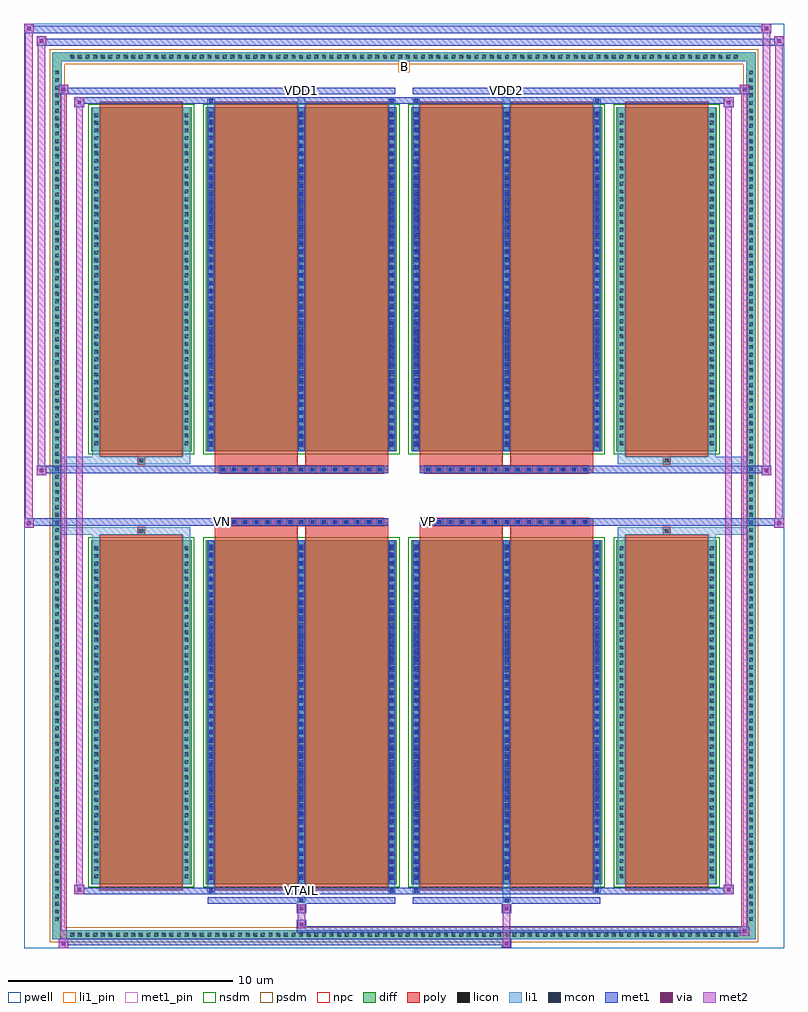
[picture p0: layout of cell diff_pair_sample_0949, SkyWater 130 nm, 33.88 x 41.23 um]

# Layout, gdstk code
import gdstk
lib = gdstk.Library(unit=1e-6, precision=5e-09)
def R(c, l, rs):  # rectangles x0, y0, x1, y1
    for r in rs: c.add(gdstk.rectangle(r[:2], r[2:], *l))
def A(c, l, x, y, w, h, nx, ny, dx, dy):  # array of equal rectangles
    R(c, l, [(x+i*dx, y+j*dy, x+i*dx+w, y+j*dy+h) for i in range(nx) for j in range(ny)])
def P(c, l, *ps):  # polygons
    for p in ps: c.add(gdstk.Polygon(p, *l))
pwell = (64, 44)
diff = (65, 20)
poly = (66, 20)
licon = (66, 44)
li1_pin = (67, 16)
li1 = (67, 20)
mcon = (67, 44)
met1_pin = (68, 16)
met1 = (68, 20)
via = (68, 44)
met2 = (69, 20)
nsdm = (93, 44)
psdm = (94, 20)
npc = (95, 20)

diff_pair_sample_0949 = lib.new_cell('diff_pair_sample_0949')
R(diff_pair_sample_0949, pwell, [(-16.94,-20.18,16.94,21.05), (-14.26,-18.37,-0.01,-0.805), (0.01,-18.37,14.26,-0.805), (-14.26,0.805,-0.01,18.37), (0.01,0.805,14.26,18.37)])
A(diff_pair_sample_0949, diff, -14.995, -19.78, 0.41, 0.41, 88, 2, 0.34, 39.15)
A(diff_pair_sample_0949, diff, -15.67, -19.075, 0.41, 0.41, 1, 112, 0, 0.34)
A(diff_pair_sample_0949, diff, 15.26, -19.075, 0.41, 0.41, 1, 112, 0, 0.34)
R(diff_pair_sample_0949, diff, [(-14.995,-19.78,14.995,-19.37), (-15.67,-19.075,-15.26,19.075), (15.26,-19.075,15.67,19.075), (-13.95,-17.325,-9.47,-1.985), (-8.83,-17.325,-0.32,-1.985), (0.32,-17.325,8.83,-1.985), (9.47,-17.325,13.95,-1.985), (-13.95,1.985,-9.47,17.325), (-8.83,1.985,-0.32,17.325), (0.32,1.985,8.83,17.325), (9.47,1.985,13.95,17.325), (-14.995,19.37,14.995,19.78)])
P(diff_pair_sample_0949, diff, [(15.67,19.78),(-15.67,19.78),(-15.67,-19.37),(-15.26,-19.37),(-15.26,19.37),(15.26,19.37),(15.26,-19.37),(-15.26,-19.37),(-15.67,-19.37),(-15.67,-19.78),(15.67,-19.78)])
A(diff_pair_sample_0949, poly, -8.24, -1.335, 0.33, 0.33, 15, 2, 0.5, 2.34)
A(diff_pair_sample_0949, poly, 0.91, -1.335, 0.33, 0.33, 15, 2, 0.5, 2.34)
R(diff_pair_sample_0949, poly, [(-13.56,-17.575,-9.86,-1.735), (-8.44,-17.575,-4.74,-1.735), (-4.41,-17.575,-0.71,-1.735), (0.71,-17.575,4.41,-1.735), (4.74,-17.575,8.44,-1.735), (9.86,-17.575,13.56,-1.735), (-11.875,-1.735,-11.545,-1.405), (-11.875,-1.735,-11.545,-1.405), (-8.44,-1.735,-4.74,-1.335), (-4.41,-1.735,-0.71,-1.335), (0.71,-1.735,4.41,-1.335), (4.74,-1.735,8.44,-1.335), (11.545,-1.735,11.875,-1.405), (11.545,-1.735,11.875,-1.405), (-8.44,-1.335,-0.71,-1.005), (0.71,-1.335,8.44,-1.005), (-8.44,1.005,-0.71,1.335), (0.71,1.005,8.44,1.335), (-8.44,1.335,-4.74,1.735), (-4.41,1.335,-0.71,1.735), (0.71,1.335,4.41,1.735), (4.74,1.335,8.44,1.735), (-11.875,1.405,-11.545,1.735), (-11.875,1.405,-11.545,1.735), (11.545,1.405,11.875,1.735), (11.545,1.405,11.875,1.735), (-13.56,1.735,-9.86,17.575), (-8.44,1.735,-4.74,17.575), (-4.41,1.735,-0.71,17.575), (0.71,1.735,4.41,17.575), (4.74,1.735,8.44,17.575), (9.86,1.735,13.56,17.575)])
A(diff_pair_sample_0949, licon, -14.875, -19.66, 0.17, 0.17, 88, 2, 0.34, 39.15)
A(diff_pair_sample_0949, licon, -15.55, -18.955, 0.17, 0.17, 1, 112, 0, 0.34)
A(diff_pair_sample_0949, licon, 15.38, -18.955, 0.17, 0.17, 1, 112, 0, 0.34)
A(diff_pair_sample_0949, licon, -13.81, -17.05, 0.17, 0.17, 1, 44, 0, 0.34)
A(diff_pair_sample_0949, licon, -9.78, -17.05, 0.17, 0.17, 1, 44, 0, 0.34)
A(diff_pair_sample_0949, licon, -8.69, -17.05, 0.17, 0.17, 3, 44, 4.03, 0.34)
A(diff_pair_sample_0949, licon, 0.46, -17.05, 0.17, 0.17, 3, 44, 4.03, 0.34)
A(diff_pair_sample_0949, licon, 9.61, -17.05, 0.17, 0.17, 1, 44, 0, 0.34)
A(diff_pair_sample_0949, licon, 13.64, -17.05, 0.17, 0.17, 1, 44, 0, 0.34)
A(diff_pair_sample_0949, licon, -8.16, -1.255, 0.17, 0.17, 15, 2, 0.5, 2.34)
A(diff_pair_sample_0949, licon, 0.99, -1.255, 0.17, 0.17, 15, 2, 0.5, 2.34)
A(diff_pair_sample_0949, licon, -13.81, 2.26, 0.17, 0.17, 1, 44, 0, 0.34)
A(diff_pair_sample_0949, licon, -9.78, 2.26, 0.17, 0.17, 1, 44, 0, 0.34)
A(diff_pair_sample_0949, licon, -8.69, 2.26, 0.17, 0.17, 3, 44, 4.03, 0.34)
A(diff_pair_sample_0949, licon, 0.46, 2.26, 0.17, 0.17, 3, 44, 4.03, 0.34)
A(diff_pair_sample_0949, licon, 9.61, 2.26, 0.17, 0.17, 1, 44, 0, 0.34)
A(diff_pair_sample_0949, licon, 13.64, 2.26, 0.17, 0.17, 1, 44, 0, 0.34)
R(diff_pair_sample_0949, licon, [(-11.795,-1.655,-11.625,-1.485), (11.625,-1.655,11.795,-1.485), (-11.795,1.485,-11.625,1.655), (11.625,1.485,11.795,1.655)])
R(diff_pair_sample_0949, li1_pin, [(-0.25,18.87,0.25,19.37)])
A(diff_pair_sample_0949, li1, -14.955, -19.74, 0.33, 0.33, 88, 2, 0.34, 39.15)
A(diff_pair_sample_0949, li1, -15.63, -19.035, 0.33, 0.33, 1, 112, 0, 0.34)
A(diff_pair_sample_0949, li1, 15.3, -19.035, 0.33, 0.33, 1, 112, 0, 0.34)
A(diff_pair_sample_0949, li1, -8.77, -17.325, 0.33, 15.34, 3, 2, 4.03, 19.31)
A(diff_pair_sample_0949, li1, 0.38, -17.325, 0.33, 15.34, 3, 2, 4.03, 19.31)
A(diff_pair_sample_0949, li1, -13.89, -17.13, 0.33, 0.33, 1, 44, 0, 0.34)
A(diff_pair_sample_0949, li1, -9.86, -17.13, 0.33, 0.33, 1, 44, 0, 0.34)
A(diff_pair_sample_0949, li1, -8.77, -17.13, 0.33, 0.33, 3, 44, 4.03, 0.34)
A(diff_pair_sample_0949, li1, 0.38, -17.13, 0.33, 0.33, 3, 44, 4.03, 0.34)
A(diff_pair_sample_0949, li1, 9.53, -17.13, 0.33, 0.33, 1, 44, 0, 0.34)
A(diff_pair_sample_0949, li1, 13.56, -17.13, 0.33, 0.33, 1, 44, 0, 0.34)
A(diff_pair_sample_0949, li1, -8.69, -17.12, 0.17, 0.17, 3, 42, 4.03, 0.36)
A(diff_pair_sample_0949, li1, -8.69, -17.12, 0.17, 14.93, 3, 2, 4.03, 19.31)
A(diff_pair_sample_0949, li1, 0.46, -17.12, 0.17, 0.17, 3, 42, 4.03, 0.36)
A(diff_pair_sample_0949, li1, 0.46, -17.12, 0.17, 14.93, 3, 2, 4.03, 19.31)
A(diff_pair_sample_0949, li1, -8.24, -1.335, 0.33, 0.33, 15, 2, 0.5, 2.34)
A(diff_pair_sample_0949, li1, 0.91, -1.335, 0.33, 0.33, 15, 2, 0.5, 2.34)
A(diff_pair_sample_0949, li1, -13.89, 2.18, 0.33, 0.33, 1, 44, 0, 0.34)
A(diff_pair_sample_0949, li1, -9.86, 2.18, 0.33, 0.33, 1, 44, 0, 0.34)
A(diff_pair_sample_0949, li1, -8.77, 2.18, 0.33, 0.33, 3, 44, 4.03, 0.34)
A(diff_pair_sample_0949, li1, 0.38, 2.18, 0.33, 0.33, 3, 44, 4.03, 0.34)
A(diff_pair_sample_0949, li1, 9.53, 2.18, 0.33, 0.33, 1, 44, 0, 0.34)
A(diff_pair_sample_0949, li1, 13.56, 2.18, 0.33, 0.33, 1, 44, 0, 0.34)
A(diff_pair_sample_0949, li1, -8.69, 2.19, 0.17, 0.17, 3, 42, 4.03, 0.36)
A(diff_pair_sample_0949, li1, 0.46, 2.19, 0.17, 0.17, 3, 42, 4.03, 0.36)
R(diff_pair_sample_0949, li1, [(-15.67,-19.78,-15.26,-19.37), (-15.67,-19.78,-15.26,-19.37), (-15.26,-19.78,15.26,-19.37), (15.26,-19.78,15.67,-19.37), (15.26,-19.78,15.67,-19.37), (-15.67,-19.37,-15.26,19.37), (15.26,-19.37,15.67,19.37), (-4.74,-18.13,-4.41,-17.325), (-4.66,-18.13,-4.49,-17.96), (4.41,-18.13,4.74,-17.325), (4.49,-18.13,4.66,-17.96), (-8.77,-17.7,-8.44,-17.325), (-8.69,-17.7,-8.52,-17.53), (-0.71,-17.7,-0.38,-17.325), (-0.63,-17.7,-0.46,-17.53), (0.38,-17.7,0.71,-17.325), (0.46,-17.7,0.63,-17.53), (8.44,-17.7,8.77,-17.325), (8.52,-17.7,8.69,-17.53), (-13.89,-17.325,-13.56,-1.985), (-9.86,-17.325,-9.53,-1.985), (9.53,-17.325,9.86,-1.985), (13.56,-17.325,13.89,-1.985), (-13.89,-1.985,-13.56,-1.405), (-9.86,-1.985,-9.53,-1.405), (9.53,-1.985,9.86,-1.405), (13.56,-1.985,13.89,-1.405), (-15.67,-1.735,-11.875,-1.405), (-13.89,-1.735,-11.875,-1.405), (-11.875,-1.735,-11.545,-1.405), (-11.545,-1.735,-9.53,-1.405), (9.53,-1.735,11.545,-1.405), (11.545,-1.735,11.875,-1.405), (11.545,-1.735,15.67,-1.405), (11.875,-1.735,13.89,-1.405), (-15.67,1.405,-11.875,1.735), (-13.89,1.405,-11.875,1.735), (-13.89,1.405,-13.56,1.985), (-11.875,1.405,-11.545,1.735), (-11.545,1.405,-9.53,1.735), (-9.86,1.405,-9.53,1.985), (9.53,1.405,11.545,1.735), (9.53,1.405,9.86,1.985), (11.545,1.405,11.875,1.735), (11.545,1.405,15.67,1.735), (11.875,1.405,13.89,1.735), (13.56,1.405,13.89,1.985), (-13.89,1.985,-13.56,17.325), (-9.86,1.985,-9.53,17.325), (9.53,1.985,9.86,17.325), (13.56,1.985,13.89,17.325), (-8.77,17.325,-8.44,17.7), (-4.74,17.325,-4.41,18.13), (-0.71,17.325,-0.38,17.7), (0.38,17.325,0.71,17.7), (4.41,17.325,4.74,18.13), (8.44,17.325,8.77,17.7), (-8.69,17.53,-8.52,17.7), (-0.63,17.53,-0.46,17.7), (0.46,17.53,0.63,17.7), (8.52,17.53,8.69,17.7), (-4.66,17.96,-4.49,18.13), (4.49,17.96,4.66,18.13), (-15.67,19.37,-15.26,19.78), (-15.67,19.37,-15.26,19.78), (-15.26,19.37,15.26,19.78), (15.26,19.37,15.67,19.78), (15.26,19.37,15.67,19.78)])
A(diff_pair_sample_0949, mcon, -8.69, -17.12, 0.17, 0.17, 3, 42, 4.03, 0.36)
A(diff_pair_sample_0949, mcon, 0.46, -17.12, 0.17, 0.17, 3, 42, 4.03, 0.36)
A(diff_pair_sample_0949, mcon, -8.16, -1.255, 0.17, 0.17, 15, 2, 0.5, 2.34)
A(diff_pair_sample_0949, mcon, 0.99, -1.255, 0.17, 0.17, 15, 2, 0.5, 2.34)
A(diff_pair_sample_0949, mcon, -8.69, 2.19, 0.17, 0.17, 3, 42, 4.03, 0.36)
A(diff_pair_sample_0949, mcon, 0.46, 2.19, 0.17, 0.17, 3, 42, 4.03, 0.36)
R(diff_pair_sample_0949, mcon, [(-4.66,-18.13,-4.49,-17.96), (4.49,-18.13,4.66,-17.96), (-8.69,-17.7,-8.52,-17.53), (-0.63,-17.7,-0.46,-17.53), (0.46,-17.7,0.63,-17.53), (8.52,-17.7,8.69,-17.53), (-8.69,17.53,-8.52,17.7), (-0.63,17.53,-0.46,17.7), (0.46,17.53,0.63,17.7), (8.52,17.53,8.69,17.7), (-4.66,17.96,-4.49,18.13), (4.49,17.96,4.66,18.13)])
R(diff_pair_sample_0949, met1_pin, [(-4.71,-17.74,-4.44,-17.47), (-8.21,-1.295,-7.94,-1.025), (0.94,-1.295,1.21,-1.025), (-4.71,17.92,-4.44,18.19), (4.44,17.92,4.71,18.19)])
A(diff_pair_sample_0949, met1, -8.75, -17.325, 0.29, 15.34, 3, 2, 4.03, 19.31)
A(diff_pair_sample_0949, met1, 0.4, -17.325, 0.29, 15.34, 3, 2, 4.03, 19.31)
A(diff_pair_sample_0949, met1, -8.75, -17.18, 0.29, 0.29, 3, 42, 4.03, 0.36)
A(diff_pair_sample_0949, met1, 0.4, -17.18, 0.29, 0.29, 3, 42, 4.03, 0.36)
A(diff_pair_sample_0949, met1, -8.22, -1.315, 0.29, 0.29, 15, 2, 0.5, 2.34)
A(diff_pair_sample_0949, met1, 0.93, -1.315, 0.29, 0.29, 15, 2, 0.5, 2.34)
A(diff_pair_sample_0949, met1, -8.75, 2.13, 0.29, 0.29, 3, 42, 4.03, 0.36)
A(diff_pair_sample_0949, met1, 0.4, 2.13, 0.29, 0.29, 3, 42, 4.03, 0.36)
R(diff_pair_sample_0949, met1, [(-15.4,-20.18,-14.97,-19.75), (4.36,-20.18,4.79,-19.75), (-15.4,-20.04,4.79,-19.75), (14.97,-19.61,15.4,-19.18), (-4.79,-19.47,15.4,-19.18), (-4.79,-19.33,-4.36,-18.9), (-4.79,-18.62,-4.36,-18.19), (4.36,-18.62,4.79,-18.19), (-8.75,-18.19,-0.4,-17.9), (-4.72,-18.19,-4.43,-17.9), (0.4,-18.19,8.75,-17.9), (4.43,-18.19,4.72,-17.9), (-14.69,-17.76,-14.26,-17.33), (-14.69,-17.76,-8.75,-17.47), (-8.75,-17.76,-8.46,-17.47), (-8.75,-17.76,-0.4,-17.47), (-0.69,-17.76,-0.4,-17.47), (-0.4,-17.76,0.4,-17.47), (0.4,-17.76,0.69,-17.47), (0.4,-17.76,8.75,-17.47), (8.46,-17.76,8.75,-17.47), (8.75,-17.76,14.69,-17.47), (14.26,-17.76,14.69,-17.33), (-16.94,-1.435,-16.51,-1.005), (16.51,-1.435,16.94,-1.005), (-16.94,-1.335,-0.71,-1.005), (-8.44,-1.335,-0.71,-1.005), (0.71,-1.335,8.44,-1.005), (0.71,-1.335,16.94,-1.005), (-16.37,0.905,-15.94,1.335), (15.94,0.905,16.37,1.335), (-16.37,1.005,-8.44,1.335), (-8.44,1.005,-0.71,1.335), (0.71,1.005,8.44,1.335), (8.44,1.005,16.37,1.335), (-14.69,17.33,-14.26,17.76), (14.26,17.33,14.69,17.76), (-14.69,17.47,-8.75,17.76), (-8.75,17.47,-8.46,17.76), (-8.75,17.47,-0.4,17.76), (-0.69,17.47,-0.4,17.76), (-0.4,17.47,0.4,17.76), (0.4,17.47,0.69,17.76), (0.4,17.47,8.75,17.76), (8.46,17.47,8.75,17.76), (8.75,17.47,14.69,17.76), (-15.4,17.9,-14.97,18.33), (-15.4,17.9,-8.75,18.19), (-8.75,17.9,-0.4,18.19), (-4.72,17.9,-4.43,18.19), (0.4,17.9,8.75,18.19), (4.43,17.9,4.72,18.19), (8.75,17.9,15.4,18.19), (14.97,17.9,15.4,18.33), (-16.37,20.05,-15.94,20.48), (-16.37,20.05,-14.26,20.38), (-14.26,20.05,14.26,20.38), (14.26,20.05,16.94,20.38), (16.51,20.05,16.94,20.48), (-16.94,20.62,-16.51,21.05), (-16.94,20.62,-14.26,20.95), (-14.26,20.62,14.26,20.95), (14.26,20.62,16.37,20.95), (15.94,20.62,16.37,21.05)])
R(diff_pair_sample_0949, via, [(-15.26,-20.04,-15.11,-19.89), (4.5,-20.04,4.65,-19.89), (15.11,-19.47,15.26,-19.32), (-4.65,-19.19,-4.5,-19.04), (-4.65,-18.48,-4.5,-18.33), (4.5,-18.48,4.65,-18.33), (-14.55,-17.62,-14.4,-17.47), (14.4,-17.62,14.55,-17.47), (-16.8,-1.295,-16.65,-1.145), (16.65,-1.295,16.8,-1.145), (-16.23,1.045,-16.08,1.195), (16.08,1.045,16.23,1.195), (-14.55,17.47,-14.4,17.62), (14.4,17.47,14.55,17.62), (-15.26,18.04,-15.11,18.19), (15.11,18.04,15.26,18.19), (-16.23,20.19,-16.08,20.34), (16.65,20.19,16.8,20.34), (-16.8,20.76,-16.65,20.91), (16.08,20.76,16.23,20.91)])
R(diff_pair_sample_0949, met2, [(-15.4,-20.18,-14.97,-19.75), (-15.33,-20.18,-15.04,18.33), (-15.04,-20.18,-14.97,-19.75), (-15.35,-20.13,-15.02,-19.8), (4.41,-20.13,4.74,-19.8), (4.41,-19.8,4.74,-18.57), (14.97,-19.61,15.4,-19.18), (15.04,-19.61,15.33,18.33), (15.33,-19.61,15.4,-19.18), (15.02,-19.56,15.35,-19.23), (-4.74,-19.28,-4.41,-18.95), (-4.74,-18.95,-4.41,-18.57), (-4.74,-18.57,-4.41,-18.24), (4.41,-18.57,4.74,-18.24), (-14.69,-17.76,-14.26,-17.33), (-14.62,-17.76,-14.33,17.76), (-14.33,-17.76,-14.26,-17.33), (14.26,-17.76,14.69,-17.33), (14.33,-17.76,14.62,17.76), (14.62,-17.76,14.69,-17.33), (-14.64,-17.71,-14.31,-17.38), (14.31,-17.71,14.64,-17.38), (-16.94,-1.435,-16.51,-1.005), (-16.89,-1.435,-16.56,21.05), (-16.56,-1.435,-16.51,-1.005), (16.51,-1.435,16.94,-1.005), (16.56,-1.435,16.89,20.48), (16.89,-1.435,16.94,-1.005), (-16.89,-1.385,-16.56,-1.055), (16.56,-1.385,16.89,-1.055), (-16.37,0.905,-15.94,1.335), (-16.32,0.905,-15.99,20.48), (-15.99,0.905,-15.94,1.335), (15.94,0.905,16.37,1.335), (15.99,0.905,16.32,21.05), (16.32,0.905,16.37,1.335), (-16.32,0.955,-15.99,1.285), (15.99,0.955,16.32,1.285), (-14.69,17.33,-14.26,17.76), (-14.33,17.33,-14.26,17.76), (14.26,17.33,14.69,17.76), (14.62,17.33,14.69,17.76), (-14.64,17.38,-14.31,17.71), (14.31,17.38,14.64,17.71), (-15.4,17.9,-14.97,18.33), (-15.04,17.9,-14.97,18.33), (14.97,17.9,15.4,18.33), (15.33,17.9,15.4,18.33), (-15.35,17.95,-15.02,18.28), (15.02,17.95,15.35,18.28), (-16.37,20.05,-15.94,20.48), (-15.99,20.05,-15.94,20.48), (16.51,20.05,16.94,20.48), (16.89,20.05,16.94,20.48), (-16.32,20.1,-15.99,20.43), (16.56,20.1,16.89,20.43), (-16.94,20.62,-16.51,21.05), (-16.56,20.62,-16.51,21.05), (15.94,20.62,16.37,21.05), (16.32,20.62,16.37,21.05), (-16.89,20.67,-16.56,21), (15.99,20.67,16.32,21)])
R(diff_pair_sample_0949, nsdm, [(-14.08,-17.455,-9.34,-1.855), (-8.96,-17.455,-0.19,-1.855), (0.19,-17.455,8.96,-1.855), (9.34,-17.455,14.08,-1.855), (-14.08,1.855,-9.34,17.455), (-8.96,1.855,-0.19,17.455), (0.19,1.855,8.96,17.455), (9.34,1.855,14.08,17.455)])
P(diff_pair_sample_0949, psdm, [(15.8,19.91),(-15.8,19.91),(-15.8,-19.24),(-15.13,-19.24),(-15.13,19.24),(15.13,19.24),(15.13,-19.24),(-15.13,-19.24),(-15.8,-19.24),(-15.8,-19.91),(15.8,-19.91)])
A(diff_pair_sample_0949, npc, -8.26, -1.355, 0.37, 0.37, 15, 2, 0.5, 2.34)
A(diff_pair_sample_0949, npc, 0.89, -1.355, 0.37, 0.37, 15, 2, 0.5, 2.34)
R(diff_pair_sample_0949, npc, [(-11.895,-1.755,-11.525,-1.385), (11.525,-1.755,11.895,-1.385), (-8.26,-1.355,-7.39,-0.985), (-8.26,-1.355,-7.39,-0.985), (-7.76,-1.355,-6.89,-0.985), (-7.76,-1.355,-6.89,-0.985), (-7.26,-1.355,-6.39,-0.985), (-7.26,-1.355,-6.39,-0.985), (-6.76,-1.355,-5.89,-0.985), (-6.76,-1.355,-5.89,-0.985), (-6.26,-1.355,-5.39,-0.985), (-6.26,-1.355,-5.39,-0.985), (-5.76,-1.355,-4.89,-0.985), (-5.76,-1.355,-4.89,-0.985), (-5.26,-1.355,-4.39,-0.985), (-5.26,-1.355,-4.39,-0.985), (-4.76,-1.355,-3.89,-0.985), (-4.76,-1.355,-3.89,-0.985), (-4.26,-1.355,-3.39,-0.985), (-4.26,-1.355,-3.39,-0.985), (-3.76,-1.355,-2.89,-0.985), (-3.76,-1.355,-2.89,-0.985), (-3.26,-1.355,-2.39,-0.985), (-3.26,-1.355,-2.39,-0.985), (-2.76,-1.355,-1.89,-0.985), (-2.76,-1.355,-1.89,-0.985), (-2.26,-1.355,-1.39,-0.985), (-2.26,-1.355,-1.39,-0.985), (-1.76,-1.355,-0.89,-0.985), (-1.76,-1.355,-0.89,-0.985), (0.89,-1.355,1.76,-0.985), (0.89,-1.355,1.76,-0.985), (1.39,-1.355,2.26,-0.985), (1.39,-1.355,2.26,-0.985), (1.89,-1.355,2.76,-0.985), (1.89,-1.355,2.76,-0.985), (2.39,-1.355,3.26,-0.985), (2.39,-1.355,3.26,-0.985), (2.89,-1.355,3.76,-0.985), (2.89,-1.355,3.76,-0.985), (3.39,-1.355,4.26,-0.985), (3.39,-1.355,4.26,-0.985), (3.89,-1.355,4.76,-0.985), (3.89,-1.355,4.76,-0.985), (4.39,-1.355,5.26,-0.985), (4.39,-1.355,5.26,-0.985), (4.89,-1.355,5.76,-0.985), (4.89,-1.355,5.76,-0.985), (5.39,-1.355,6.26,-0.985), (5.39,-1.355,6.26,-0.985), (5.89,-1.355,6.76,-0.985), (5.89,-1.355,6.76,-0.985), (6.39,-1.355,7.26,-0.985), (6.39,-1.355,7.26,-0.985), (6.89,-1.355,7.76,-0.985), (6.89,-1.355,7.76,-0.985), (7.39,-1.355,8.26,-0.985), (7.39,-1.355,8.26,-0.985), (-8.26,0.985,-7.39,1.355), (-8.26,0.985,-7.39,1.355), (-7.76,0.985,-6.89,1.355), (-7.76,0.985,-6.89,1.355), (-7.26,0.985,-6.39,1.355), (-7.26,0.985,-6.39,1.355), (-6.76,0.985,-5.89,1.355), (-6.76,0.985,-5.89,1.355), (-6.26,0.985,-5.39,1.355), (-6.26,0.985,-5.39,1.355), (-5.76,0.985,-4.89,1.355), (-5.76,0.985,-4.89,1.355), (-5.26,0.985,-4.39,1.355), (-5.26,0.985,-4.39,1.355), (-4.76,0.985,-3.89,1.355), (-4.76,0.985,-3.89,1.355), (-4.26,0.985,-3.39,1.355), (-4.26,0.985,-3.39,1.355), (-3.76,0.985,-2.89,1.355), (-3.76,0.985,-2.89,1.355), (-3.26,0.985,-2.39,1.355), (-3.26,0.985,-2.39,1.355), (-2.76,0.985,-1.89,1.355), (-2.76,0.985,-1.89,1.355), (-2.26,0.985,-1.39,1.355), (-2.26,0.985,-1.39,1.355), (-1.76,0.985,-0.89,1.355), (-1.76,0.985,-0.89,1.355), (0.89,0.985,1.76,1.355), (0.89,0.985,1.76,1.355), (1.39,0.985,2.26,1.355), (1.39,0.985,2.26,1.355), (1.89,0.985,2.76,1.355), (1.89,0.985,2.76,1.355), (2.39,0.985,3.26,1.355), (2.39,0.985,3.26,1.355), (2.89,0.985,3.76,1.355), (2.89,0.985,3.76,1.355), (3.39,0.985,4.26,1.355), (3.39,0.985,4.26,1.355), (3.89,0.985,4.76,1.355), (3.89,0.985,4.76,1.355), (4.39,0.985,5.26,1.355), (4.39,0.985,5.26,1.355), (4.89,0.985,5.76,1.355), (4.89,0.985,5.76,1.355), (5.39,0.985,6.26,1.355), (5.39,0.985,6.26,1.355), (5.89,0.985,6.76,1.355), (5.89,0.985,6.76,1.355), (6.39,0.985,7.26,1.355), (6.39,0.985,7.26,1.355), (6.89,0.985,7.76,1.355), (6.89,0.985,7.76,1.355), (7.39,0.985,8.26,1.355), (7.39,0.985,8.26,1.355), (-11.895,1.385,-11.525,1.755), (11.525,1.385,11.895,1.755)])
diff_pair_sample_0949.add(gdstk.Label('VTAIL', (-4.575,-17.605), layer=68, texttype=5))
diff_pair_sample_0949.add(gdstk.Label('VN', (-8.075,-1.16), layer=68, texttype=5))
diff_pair_sample_0949.add(gdstk.Label('VP', (1.075,-1.16), layer=68, texttype=5))
diff_pair_sample_0949.add(gdstk.Label('B', (0,19.12), layer=67, texttype=5))
diff_pair_sample_0949.add(gdstk.Label('VDD2', (4.575,18.055), layer=68, texttype=5))
diff_pair_sample_0949.add(gdstk.Label('VDD1', (-4.575,18.055), layer=68, texttype=5))

lib.write_gds('diff_pair_sample_0949.gds')
